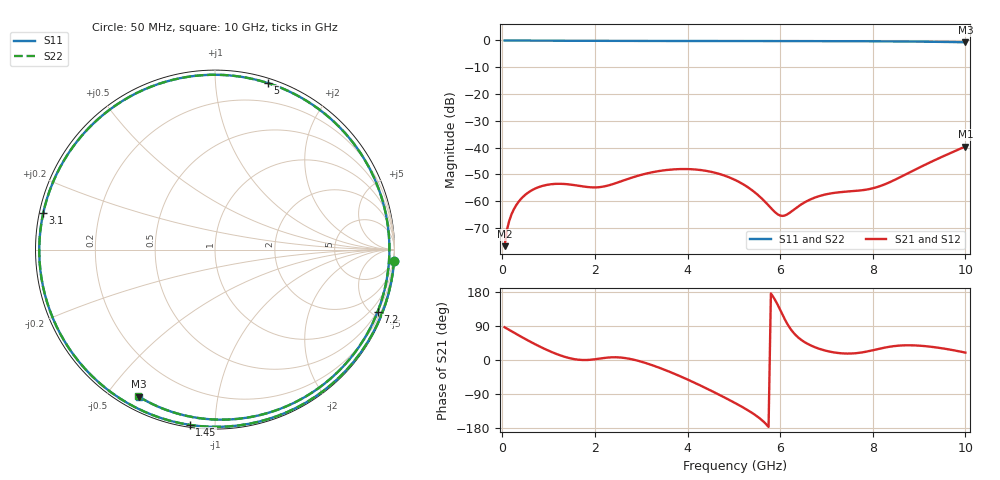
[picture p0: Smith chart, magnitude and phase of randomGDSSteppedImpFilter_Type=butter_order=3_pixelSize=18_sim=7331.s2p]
! freq	dB(S11)	phase(S11)	dB(S12)	phase(S12)
!  dB(S21)	phase(S21)	dB(S22)	phase(S22)
!S-par simulation data
#  GHz  S  DB  R 50
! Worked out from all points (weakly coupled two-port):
!   200 points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, 50 MHz to 10 GHz, reference 50 ohm
!   highest |S21| = -39.58 dB at 10 GHz (marker M1); lowest = -76.8 dB at 50 MHz (marker M2)
!   lowest |S11| = -0.7 dB at 10 GHz (marker M3), VSWR 24.90, Z = 2.75 - j30.4 ohm
!   |S11| at or under -10 dB: nowhere
!   |S22| runs from -0.7 to 0.0 dB; largest |S21 - S12| = 0
!   S11 on the Smith chart (normalised r, x): 50 MHz: 0, -32; 1.45 GHz: 0.01, -0.87; 3.1 GHz: 0.01, +0.10; 5 GHz: 0.04, +1.36; 7.2 GHz: 0.45, -5.36; 10 GHz: 0.06, -0.61
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0.05  -0.00 -3.6  -76.78 86.4  -76.78 86.4  -0.00 -3.6
0.1  -0.01 -7.2  -70.78 82.9  -70.78 82.9  -0.01 -7.2
0.2  -0.02 -14.3  -64.85 75.8  -64.85 75.8  -0.02 -14.3
0.45  -0.05 -31.8  -58.32 58.5  -58.32 58.5  -0.05 -31.8
0.95  -0.08 -66.0  -53.95 27.3  -53.95 27.3  -0.08 -66.0
1.45  -0.12 -98.2  -53.74 5.0  -53.74 5.0  -0.12 -98.2
1.75  -0.13 -116.6  -54.50 -0.1  -54.50 -0.1  -0.13 -116.6
2.45  -0.17 -156.9  -53.26 7.2  -53.26 7.2  -0.17 -156.9
3.1  -0.19 168.0  -49.72 -8.1  -49.72 -8.1  -0.19 167.9
3.4  -0.20 152.3  -48.69 -20.9  -48.69 -20.9  -0.20 152.2
4.2  -0.22 111.6  -48.21 -62.8  -48.21 -62.8  -0.22 111.4
4.6  -0.23 91.8  -49.40 -86.6  -49.40 -86.6  -0.23 91.5
5  -0.23 72.5  -51.85 -111.8  -51.85 -111.8  -0.23 72.2
5.05  -0.23 70.1  -52.26 -115.0  -52.26 -115.0  -0.23 69.8
5.45  -0.24 51.5  -56.66 -144.2  -56.66 -144.2  -0.24 51.1
6  -0.24 27.0  -65.35 132.6  -65.35 132.6  -0.24 26.6
6.7  -0.25 -1.9  -58.98 36.3  -58.98 36.3  -0.25 -2.3
7.2  -0.26 -21.0  -56.81 19.3  -56.81 19.3  -0.27 -21.4
7.9  -0.30 -45.9  -55.56 23.0  -55.56 23.0  -0.31 -46.3
8.35  -0.34 -61.0  -53.03 34.7  -53.03 34.7  -0.35 -61.4
9.2  -0.47 -88.9  -45.80 35.7  -45.80 35.7  -0.47 -89.4
10  -0.70 -117.3  -39.58 19.5  -39.58 19.5  -0.70 -117.9
